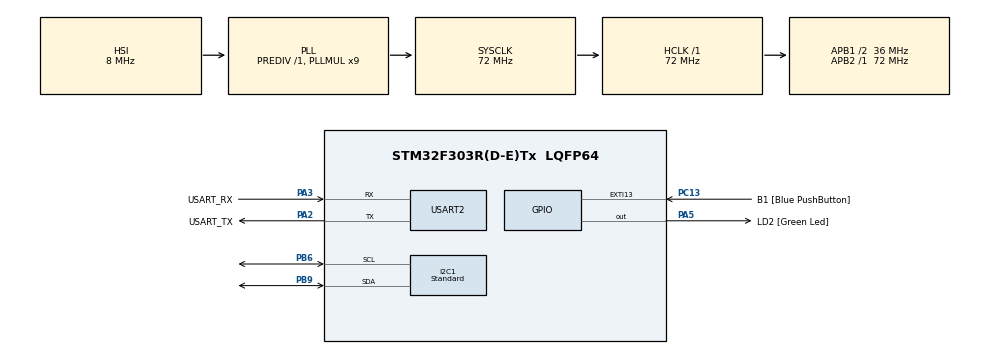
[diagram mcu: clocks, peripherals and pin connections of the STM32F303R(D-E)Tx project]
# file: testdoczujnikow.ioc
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I2C1.I2C_Speed_Mode=I2C_Standard
I2C1.Timing=0x2000090E
Mcu.Family=STM32F3
Mcu.Name=STM32F303R(D-E)Tx
Mcu.Package=LQFP64
NVIC.EXTI15_10_IRQn=true\:1\:0\:true\:false\:true\:true
NVIC.I2C1_ER_IRQn=true\:0\:0\:true\:false\:true\:true
NVIC.I2C1_EV_IRQn=true\:0\:0\:true\:false\:true\:true
NVIC.PriorityGroup=NVIC_PRIORITYGROUP_1
NVIC.TIM6_DAC_IRQn=true\:1\:0\:true\:false\:true\:true
NVIC.USART2_IRQn=true\:1\:0\:true\:false\:true\:true
PA13.GPIO_Label=TMS
PA13.Mode=Serial_Wire
PA13.Signal=SYS_JTMS-SWDIO
PA14.GPIO_Label=TCK
PA14.Mode=Serial_Wire
PA14.Signal=SYS_JTCK-SWCLK
PA2.GPIO_Label=USART_TX
PA2.GPIO_Mode=GPIO_MODE_AF_PP
PA2.GPIO_PuPd=GPIO_NOPULL
PA2.GPIO_Speed=GPIO_SPEED_FREQ_LOW
PA2.Mode=Asynchronous
PA2.Signal=USART2_TX
PA3.GPIO_Label=USART_RX
PA3.GPIO_Mode=GPIO_MODE_AF_PP
PA3.GPIO_PuPd=GPIO_NOPULL
PA3.GPIO_Speed=GPIO_SPEED_FREQ_LOW
PA3.Mode=Asynchronous
PA3.Signal=USART2_RX
PA5.GPIO_Label=LD2 [Green Led]
PA5.GPIO_Mode=GPIO_MODE_OUTPUT_PP
PA5.GPIO_PuPd=GPIO_NOPULL
PA5.GPIO_Speed=GPIO_SPEED_FREQ_LOW
PA5.Signal=GPIO_Output
PB3.GPIO_Label=SWO
PB3.Signal=SYS_JTDO-TRACESWO
PB6.Mode=I2C
PB6.Signal=I2C1_SCL
PB9.Mode=I2C
PB9.Signal=I2C1_SDA
PC13.GPIO_Label=B1 [Blue PushButton]
PC13.GPIO_ModeDefaultEXTI=GPIO_MODE_IT_FALLING
PC13.Signal=GPXTI13
PC14-OSC32_IN.Mode=LSE-External-Oscillator
PC14-OSC32_IN.Signal=RCC_OSC32_IN
PC15-OSC32_OUT.Mode=LSE-External-Oscillator
PC15-OSC32_OUT.Signal=RCC_OSC32_OUT
PF0-OSC_IN.Mode=HSE-External-Clock-Source
PF0-OSC_IN.Signal=RCC_OSC_IN
PF1-OSC_OUT.Signal=RCC_OSC_OUT
ProjectManager.HeapSize=0x200
ProjectManager.StackSize=0x400
ProjectManager.TargetToolchain=SW4STM32
RCC.AHBFreq_Value=72000000
RCC.APB1CLKDivider=RCC_HCLK_DIV2
RCC.APB1Freq_Value=36000000
RCC.APB1TimFreq_Value=72000000
RCC.APB2Freq_Value=72000000
RCC.APB2TimFreq_Value=72000000
RCC.CortexFreq_Value=72000000
RCC.HCLKFreq_Value=72000000
RCC.HSE_VALUE=8000000
RCC.HSI_VALUE=8000000
RCC.PLLM=8
RCC.PLLMUL=RCC_PLL_MUL9
RCC.PLLN=336
RCC.PLLP=RCC_PLLP_DIV4
RCC.PLLQ=7
RCC.RCC_PLLsource_Clock_Source_FROM_HSE=RCC_HSE_PREDIV_DIV2
RCC.SYSCLKFreq_VALUE=72000000
RCC.SYSCLKSourceVirtual=RCC_SYSCLKSOURCE_PLLCLK
RCC.USBFreq_Value=72000000
TIM6.Period=72-1
TIM6.Prescaler=1000-1
USART2.VirtualMode-Asynchronous=VM_ASYNC
VP_TIM6_VS_ClockSourceINT.Mode=Enable_Timer
board=NUCLEO-F303RE

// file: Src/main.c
/* USER CODE BEGIN Header */
/**
  ******************************************************************************
  * @file           : main.c
  * @brief          : Main program body
  ******************************************************************************
  ** This notice applies to any and all portions of this file
  * that are not between comment pairs USER CODE BEGIN and
  * USER CODE END. Other portions of this file, whether
  * inserted by the user or by software development tools
  * are owned by their respective copyright owners.
  *
  * COPYRIGHT(c) 2019 STMicroelectronics
  *
  * Redistribution and use in source and binary forms, with or without modification,
  * are permitted provided that the following conditions are met:
  *   1. Redistributions of source code must retain the above copyright notice,
  *      this list of conditions and the following disclaimer.
  *   2. Redistributions in binary form must reproduce the above copyright notice,
  *      this list of conditions and the following disclaimer in the documentation
  *      and/or other materials provided with the distribution.
  *   3. Neither the name of STMicroelectronics nor the names of its contributors
  *      may be used to endorse or promote products derived from this software
  *      without specific prior written permission.
  *
  * THIS SOFTWARE IS PROVIDED BY THE COPYRIGHT HOLDERS AND CONTRIBUTORS "AS IS"
  * AND ANY EXPRESS OR IMPLIED WARRANTIES, INCLUDING, BUT NOT LIMITED TO, THE
  * IMPLIED WARRANTIES OF MERCHANTABILITY AND FITNESS FOR A PARTICULAR PURPOSE ARE
  * DISCLAIMED. IN NO EVENT SHALL THE COPYRIGHT HOLDER OR CONTRIBUTORS BE LIABLE
  * FOR ANY DIRECT, INDIRECT, INCIDENTAL, SPECIAL, EXEMPLARY, OR CONSEQUENTIAL
  * DAMAGES (INCLUDING, BUT NOT LIMITED TO, PROCUREMENT OF SUBSTITUTE GOODS OR
  * SERVICES; LOSS OF USE, DATA, OR PROFITS; OR BUSINESS INTERRUPTION) HOWEVER
  * CAUSED AND ON ANY THEORY OF LIABILITY, WHETHER IN CONTRACT, STRICT LIABILITY,
  * OR TORT (INCLUDING NEGLIGENCE OR OTHERWISE) ARISING IN ANY WAY OUT OF THE USE
  * OF THIS SOFTWARE, EVEN IF ADVISED OF THE POSSIBILITY OF SUCH DAMAGE.
  *
  ******************************************************************************
  */
/* USER CODE END Header */

#include "main.h"

/* USER CODE BEGIN Includes */
#include "data_commands.h"
#include "commands.h"
#include "command_manager.h"
#include "interrupts.h"
#include "sensors_defines.h"

#include "FIFO_str.h"
/* USER CODE END Includes */

I2C_HandleTypeDef hi2c1;

TIM_HandleTypeDef htim6;

UART_HandleTypeDef huart2;

/* USER CODE BEGIN PV */
Communication_Data ComData;
CommandProperties CmdPrt;
/* USER CODE END PV */

void SystemClock_Config(void);
static void MX_GPIO_Init(void);
static void MX_USART2_UART_Init(void);
static void MX_TIM6_Init(void);
static void MX_I2C1_Init(void);

int main(void)
{

  /* MCU Configuration--------------------------------------------------------*/

  /* Reset of all peripherals, Initializes the Flash interface and the Systick. */
  HAL_Init();

  /* Configure the system clock */
  SystemClock_Config();

  /* Initialize all configured peripherals */
  MX_GPIO_Init();
  MX_USART2_UART_Init();
  MX_TIM6_Init();
  MX_I2C1_Init();
  /* USER CODE BEGIN 2 */
  ComData.in_commands = NULL;
  ComData.out_commands = NULL;
  ComData.in_counter = 0;
  ComData.stop_recieved = false;
  ComData.tim6state = false;
  ComData.timDivision = 0;
  ListStr_Create(&(ComData.in_commands));
  ListStr_Create(&(ComData.out_commands));

  CmdPrt.command_set = false;

  HAL_UART_Receive_IT(&huart2, &(ComData.data_received), 1);
  /* USER CODE END 2 */

  /* Infinite loop */
  /* USER CODE BEGIN WHILE */

  //ustawienia I2C
  uint8_t settingsdev;
  //akcelerometr
  settingsdev = ACC_104HZ_MASK;
  HAL_I2C_Mem_Write(&hi2c1, ACC_ADDRESS, ACC_CTRL1_XL, 1, &settingsdev, 1, 1000);
  //zyroskop
  settingsdev = GYR_104HZ_MASK;
  HAL_I2C_Mem_Write(&hi2c1, GYR_ADDRESS, GYR_CTRL2_G, 1, &settingsdev, 1, 1000);
  //barometr
  settingsdev = BAR_ACTIVE_MODE_MASK | BAR_1HZ_MASK | BAR_BDU_MASK;
  HAL_I2C_Mem_Write(&hi2c1, BAR_ADDRESS, BAR_CTRL_REG1, 1, &settingsdev, 1, 1000);
  //magnetometr
  settingsdev = MAG_155HZ_MASK;
  HAL_I2C_Mem_Write(&hi2c1, MAG_ADDRESS, MAG_CTRL_REG1, 1, &settingsdev, 1, 1000);
  settingsdev = MAG_4G_MASK;
  HAL_I2C_Mem_Write(&hi2c1, MAG_ADDRESS, MAG_CTRL_REG2, 1, &settingsdev, 1, 1000);
  settingsdev = MAG_CONTINUOUS_MODE_MASK;
  HAL_I2C_Mem_Write(&hi2c1, MAG_ADDRESS, MAG_CTRL_REG3, 1, &settingsdev, 1, 1000);
  settingsdev = MAG_BDU_MASK;
  HAL_I2C_Mem_Write(&hi2c1, MAG_ADDRESS, MAG_CTRL_REG5, 1, &settingsdev, 1, 1000);

  while (1)
  {
	  //pobieranie nowej komendy z bufora wejsciowego, jezeli aktualna komenda nie dziala i jest co wczytac
	  if(CmdPrt.command_set == false && ListStr_GetSize(ComData.in_commands) > 0)
  	  {
		  parse_command(&CmdPrt);
	  }

	  //jezeli odebrano sygnal stop
	  if(ComData.stop_recieved == true)
	  {
		  CmdPrt.command = stop;
		  CmdPrt.command(&CmdPrt);
	  }

	  //jezeli dzialanie aktualnej funkcji aktywne
	  if(CmdPrt.command_set == true)
	  {
		  //pozniej bez tej petni a w tym miejsu zaczecie liczenia w timerze
		  //a w stop zatrzymanie dzialania timera
		  //a w measure ustawienie timera na odpowiednie zawartosi rejestrow zeby zliczal odpowiednio szybko
		  //i generowal przerwania w ktorych beda wyniki dodane do listy out i zmienjszana wartosc ilosci
		  //pomiarow a gdy dojdzie do 0 to timer bedzie zatrzymywany
		  CmdPrt.command(&CmdPrt);
	  }

	  //jezeli dane do wyslania sa gotowe ale nie sa wysylane to rozpocznij nadawanie
	  if(huart2.gState != HAL_UART_STATE_BUSY_TX && ListStr_GetSize(ComData.out_commands) > 0)
	  {
		  send_msg_UART();
	  }

    /* USER CODE END WHILE */

  }
}

void SystemClock_Config(void)
{
  RCC_OscInitTypeDef RCC_OscInitStruct = {0};
  RCC_ClkInitTypeDef RCC_ClkInitStruct = {0};
  RCC_PeriphCLKInitTypeDef PeriphClkInit = {0};

  /**Initializes the CPU, AHB and APB busses clocks
  */
  RCC_OscInitStruct.OscillatorType = RCC_OSCILLATORTYPE_HSI;
  RCC_OscInitStruct.HSIState = RCC_HSI_ON;
  RCC_OscInitStruct.HSICalibrationValue = RCC_HSICALIBRATION_DEFAULT;
  RCC_OscInitStruct.PLL.PLLState = RCC_PLL_ON;
  RCC_OscInitStruct.PLL.PLLSource = RCC_PLLSOURCE_HSI;
  RCC_OscInitStruct.PLL.PLLMUL = RCC_PLL_MUL9;
  RCC_OscInitStruct.PLL.PREDIV = RCC_PREDIV_DIV1;
  if (HAL_RCC_OscConfig(&RCC_OscInitStruct) != HAL_OK)
  {
    Error_Handler();
  }
  /**Initializes the CPU, AHB and APB busses clocks
  */
  RCC_ClkInitStruct.ClockType = RCC_CLOCKTYPE_HCLK|RCC_CLOCKTYPE_SYSCLK
                              |RCC_CLOCKTYPE_PCLK1|RCC_CLOCKTYPE_PCLK2;
  RCC_ClkInitStruct.SYSCLKSource = RCC_SYSCLKSOURCE_PLLCLK;
  RCC_ClkInitStruct.AHBCLKDivider = RCC_SYSCLK_DIV1;
  RCC_ClkInitStruct.APB1CLKDivider = RCC_HCLK_DIV2;
  RCC_ClkInitStruct.APB2CLKDivider = RCC_HCLK_DIV1;

  if (HAL_RCC_ClockConfig(&RCC_ClkInitStruct, FLASH_LATENCY_2) != HAL_OK)
  {
    Error_Handler();
  }
  PeriphClkInit.PeriphClockSelection = RCC_PERIPHCLK_USART2|RCC_PERIPHCLK_I2C1;
  PeriphClkInit.Usart2ClockSelection = RCC_USART2CLKSOURCE_PCLK1;
  PeriphClkInit.I2c1ClockSelection = RCC_I2C1CLKSOURCE_HSI;
  if (HAL_RCCEx_PeriphCLKConfig(&PeriphClkInit) != HAL_OK)
  {
    Error_Handler();
  }
}

static void MX_I2C1_Init(void)
{

  hi2c1.Instance = I2C1;
  hi2c1.Init.Timing = 0x2000090E;
  hi2c1.Init.OwnAddress1 = 0;
  hi2c1.Init.AddressingMode = I2C_ADDRESSINGMODE_7BIT;
  hi2c1.Init.DualAddressMode = I2C_DUALADDRESS_DISABLE;
  hi2c1.Init.OwnAddress2 = 0;
  hi2c1.Init.OwnAddress2Masks = I2C_OA2_NOMASK;
  hi2c1.Init.GeneralCallMode = I2C_GENERALCALL_DISABLE;
  hi2c1.Init.NoStretchMode = I2C_NOSTRETCH_DISABLE;
  if (HAL_I2C_Init(&hi2c1) != HAL_OK)
  {
    Error_Handler();
  }
  /**Configure Analogue filter
  */
  if (HAL_I2CEx_ConfigAnalogFilter(&hi2c1, I2C_ANALOGFILTER_ENABLE) != HAL_OK)
  {
    Error_Handler();
  }
  /**Configure Digital filter
  */
  if (HAL_I2CEx_ConfigDigitalFilter(&hi2c1, 0) != HAL_OK)
  {
    Error_Handler();
  }

}

static void MX_TIM6_Init(void)
{

  TIM_MasterConfigTypeDef sMasterConfig = {0};

  htim6.Instance = TIM6;
  htim6.Init.Prescaler = 1000-1;
  htim6.Init.CounterMode = TIM_COUNTERMODE_UP;
  htim6.Init.Period = 72-1;
  htim6.Init.AutoReloadPreload = TIM_AUTORELOAD_PRELOAD_DISABLE;
  if (HAL_TIM_Base_Init(&htim6) != HAL_OK)
  {
    Error_Handler();
  }
  sMasterConfig.MasterOutputTrigger = TIM_TRGO_RESET;
  sMasterConfig.MasterSlaveMode = TIM_MASTERSLAVEMODE_DISABLE;
  if (HAL_TIMEx_MasterConfigSynchronization(&htim6, &sMasterConfig) != HAL_OK)
  {
    Error_Handler();
  }

}

static void MX_USART2_UART_Init(void)
{

  huart2.Instance = USART2;
  huart2.Init.BaudRate = 38400;
  huart2.Init.WordLength = UART_WORDLENGTH_8B;
  huart2.Init.StopBits = UART_STOPBITS_1;
  huart2.Init.Parity = UART_PARITY_NONE;
  huart2.Init.Mode = UART_MODE_TX_RX;
  huart2.Init.HwFlowCtl = UART_HWCONTROL_NONE;
  huart2.Init.OverSampling = UART_OVERSAMPLING_16;
  huart2.Init.OneBitSampling = UART_ONE_BIT_SAMPLE_DISABLE;
  huart2.AdvancedInit.AdvFeatureInit = UART_ADVFEATURE_NO_INIT;
  if (HAL_UART_Init(&huart2) != HAL_OK)
  {
    Error_Handler();
  }

}

static void MX_GPIO_Init(void)
{
  GPIO_InitTypeDef GPIO_InitStruct = {0};

  /* GPIO Ports Clock Enable */
  __HAL_RCC_GPIOC_CLK_ENABLE();
  __HAL_RCC_GPIOF_CLK_ENABLE();
  __HAL_RCC_GPIOA_CLK_ENABLE();
  __HAL_RCC_GPIOB_CLK_ENABLE();

  /*Configure GPIO pin Output Level */
  HAL_GPIO_WritePin(LD2_GPIO_Port, LD2_Pin, GPIO_PIN_RESET);

  /*Configure GPIO pin : B1_Pin */
  GPIO_InitStruct.Pin = B1_Pin;
  GPIO_InitStruct.Mode = GPIO_MODE_IT_FALLING;
  GPIO_InitStruct.Pull = GPIO_NOPULL;
  HAL_GPIO_Init(B1_GPIO_Port, &GPIO_InitStruct);

  /*Configure GPIO pin : LD2_Pin */
  GPIO_InitStruct.Pin = LD2_Pin;
  GPIO_InitStruct.Mode = GPIO_MODE_OUTPUT_PP;
  GPIO_InitStruct.Pull = GPIO_NOPULL;
  GPIO_InitStruct.Speed = GPIO_SPEED_FREQ_LOW;
  HAL_GPIO_Init(LD2_GPIO_Port, &GPIO_InitStruct);

  /* EXTI interrupt init*/
  HAL_NVIC_SetPriority(EXTI15_10_IRQn, 1, 0);
  HAL_NVIC_EnableIRQ(EXTI15_10_IRQn);

}

void Error_Handler(void)
{
}

/************************ (C) COPYRIGHT STMicroelectronics *****END OF FILE****/
